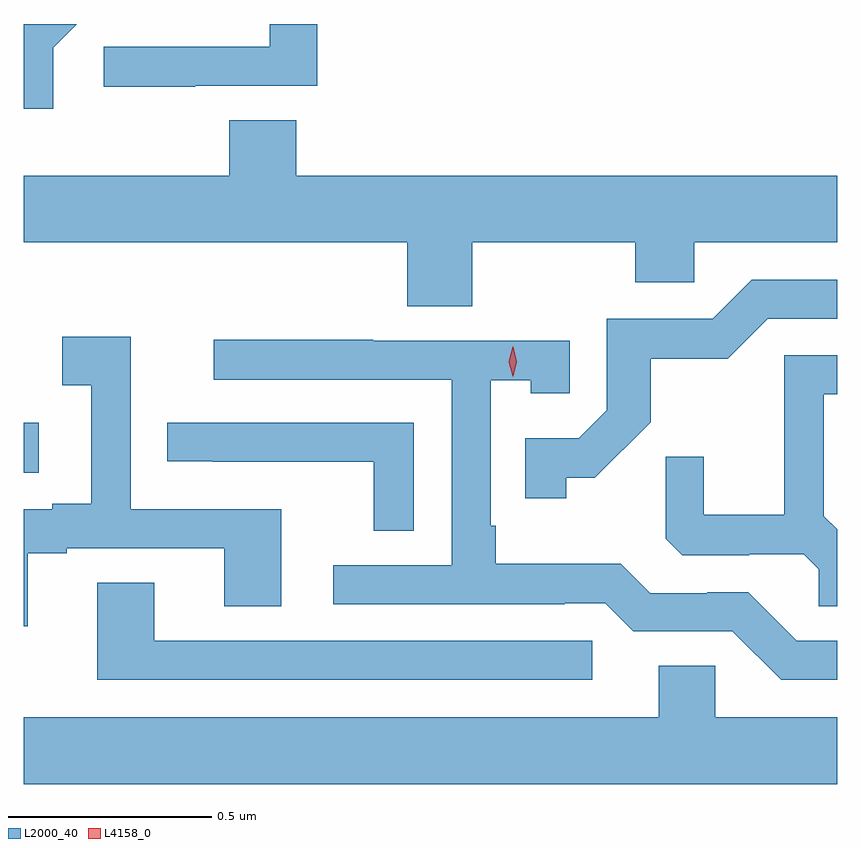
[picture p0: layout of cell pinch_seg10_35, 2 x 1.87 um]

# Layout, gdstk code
import gdstk
lib = gdstk.Library(unit=1e-6, precision=1e-09)
def R(c, l, rs):  # rectangles x0, y0, x1, y1
    for r in rs: c.add(gdstk.rectangle(r[:2], r[2:], *l))
def P(c, l, *ps):  # polygons
    for p in ps: c.add(gdstk.Polygon(p, *l))
L2000_40 = (2000, 40)
L4158_0 = (4158, 0)

pinch_seg10_35 = lib.new_cell('pinch_seg10_35')
R(pinch_seg10_35, L2000_40, [(903.784,1309.073,903.82,1309.197)])
P(pinch_seg10_35, L2000_40, [(904.205,1310.025),(904.505,1310.025),(904.505,1310.177),(904.389,1310.177),(904.389,1310.121),(903.981,1310.121),(903.981,1310.023),(904.205,1310.023)],
  [(903.856,1310.119),(903.914,1310.177),(903.784,1310.177),(903.784,1309.968),(903.856,1309.968)],
  [(904.887,1309.64),(905.287,1309.64),(905.287,1309.542),(905.433,1309.542),(905.433,1309.64),(905.784,1309.64),(905.784,1309.804),(904.454,1309.804),(904.454,1309.94),(904.289,1309.94),(904.289,1309.804),(903.784,1309.804),(903.784,1309.64),(904.727,1309.64),(904.727,1309.483),(904.887,1309.483)],
  [(905.118,1309.061),(905.188,1309.061),(905.326,1309.198),(905.326,1309.354),(905.515,1309.354),(905.613,1309.452),(905.784,1309.452),(905.784,1309.548),(905.574,1309.548),(905.478,1309.452),(905.217,1309.452),(905.217,1309.227),(905.148,1309.158),(905.017,1309.158),(905.017,1309.011),(905.118,1309.011)],
  [(903.793,1308.876),(903.889,1308.876),(903.889,1308.888),(904.277,1308.888),(904.277,1308.745),(904.417,1308.745),(904.417,1308.984),(904.047,1308.984),(904.047,1309.408),(903.879,1309.408),(903.879,1309.288),(903.95,1309.288),(903.95,1308.997),(903.854,1308.997),(903.854,1308.984),(903.784,1308.984),(903.784,1308.696),(903.793,1308.696)],
  [(905.784,1308.66),(905.685,1308.66),(905.565,1308.78),(905.464,1308.78),(905.464,1308.777),(905.325,1308.777),(905.252,1308.85),(904.945,1308.85),(904.945,1308.943),(904.932,1308.943),(904.932,1309.301),(905.031,1309.301),(905.031,1309.269),(905.127,1309.269),(905.127,1309.398),(904.643,1309.398),(904.643,1309.401),(904.251,1309.401),(904.251,1309.302),(904.836,1309.302),(904.836,1308.846),(904.545,1308.846),(904.545,1308.75),(905.114,1308.75),(905.114,1308.753),(905.214,1308.753),(905.283,1308.684),(905.526,1308.684),(905.646,1308.564),(905.784,1308.564)],
  [(905.784,1308.934),(905.751,1308.967),(905.751,1309.266),(905.784,1309.266),(905.784,1309.362),(905.654,1309.362),(905.654,1308.97),(905.456,1308.97),(905.456,1309.113),(905.362,1309.113),(905.362,1308.911),(905.403,1308.87),(905.568,1308.87),(905.568,1308.873),(905.702,1308.873),(905.739,1308.836),(905.739,1308.745),(905.784,1308.745)],
  [(904.743,1309.197),(904.137,1309.197),(904.137,1309.102),(904.249,1309.102),(904.249,1309.101),(904.645,1309.101),(904.645,1308.931),(904.743,1308.931)],
  [(905.182,1308.66),(904.105,1308.66),(904.105,1308.803),(903.965,1308.803),(903.965,1308.564),(905.182,1308.564)],
  [(905.784,1308.472),(905.484,1308.472),(905.484,1308.599),(905.345,1308.599),(905.345,1308.472),(903.784,1308.472),(903.784,1308.308),(905.784,1308.308)])
P(pinch_seg10_35, L4158_0, [(904.986,1309.311),(904.986,1309.311),(904.976,1309.347),(904.986,1309.383),(904.986,1309.383),(904.987,1309.383),(904.996,1309.347),(904.987,1309.311)])

lib.write_gds('pinch_seg10_35.gds')
